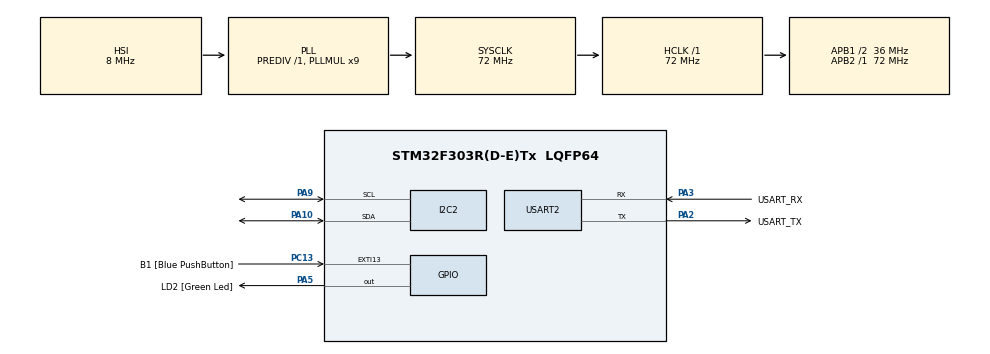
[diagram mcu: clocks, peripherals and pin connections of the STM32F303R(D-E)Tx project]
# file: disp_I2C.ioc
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I2C2.Timing=0x00201D2B
Mcu.Family=STM32F3
Mcu.Name=STM32F303R(D-E)Tx
Mcu.Package=LQFP64
NVIC.PriorityGroup=NVIC_PRIORITYGROUP_0
PA10.Mode=I2C
PA10.Signal=I2C2_SDA
PA13.GPIO_Label=TMS
PA13.Mode=Serial_Wire
PA13.Signal=SYS_JTMS-SWDIO
PA14.GPIO_Label=TCK
PA14.Mode=Serial_Wire
PA14.Signal=SYS_JTCK-SWCLK
PA2.GPIO_Label=USART_TX
PA2.GPIO_Mode=GPIO_MODE_AF_PP
PA2.GPIO_PuPd=GPIO_NOPULL
PA2.GPIO_Speed=GPIO_SPEED_FREQ_LOW
PA2.Mode=Asynchronous
PA2.Signal=USART2_TX
PA3.GPIO_Label=USART_RX
PA3.GPIO_Mode=GPIO_MODE_AF_PP
PA3.GPIO_PuPd=GPIO_NOPULL
PA3.GPIO_Speed=GPIO_SPEED_FREQ_LOW
PA3.Mode=Asynchronous
PA3.Signal=USART2_RX
PA5.GPIO_Label=LD2 [Green Led]
PA5.GPIO_Mode=GPIO_MODE_OUTPUT_PP
PA5.GPIO_PuPd=GPIO_NOPULL
PA5.GPIO_Speed=GPIO_SPEED_FREQ_LOW
PA5.Signal=GPIO_Output
PA9.Mode=I2C
PA9.Signal=I2C2_SCL
PB3.GPIO_Label=SWO
PB3.Signal=SYS_JTDO-TRACESWO
PC13.GPIO_Label=B1 [Blue PushButton]
PC13.GPIO_ModeDefaultEXTI=GPIO_MODE_IT_FALLING
PC13.Signal=GPXTI13
PC14-OSC32_IN.Mode=LSE-External-Oscillator
PC14-OSC32_IN.Signal=RCC_OSC32_IN
PC15-OSC32_OUT.Mode=LSE-External-Oscillator
PC15-OSC32_OUT.Signal=RCC_OSC32_OUT
PF0-OSC_IN.Mode=HSE-External-Clock-Source
PF0-OSC_IN.Signal=RCC_OSC_IN
PF1-OSC_OUT.Signal=RCC_OSC_OUT
ProjectManager.HeapSize=0x200
ProjectManager.StackSize=0x400
ProjectManager.TargetToolchain=STM32CubeIDE
RCC.AHBFreq_Value=72000000
RCC.APB1CLKDivider=RCC_HCLK_DIV2
RCC.APB1Freq_Value=36000000
RCC.APB1TimFreq_Value=72000000
RCC.APB2Freq_Value=72000000
RCC.APB2TimFreq_Value=72000000
RCC.CortexFreq_Value=72000000
RCC.HCLKFreq_Value=72000000
RCC.HSE_VALUE=8000000
RCC.HSI_VALUE=8000000
RCC.PLLM=8
RCC.PLLMUL=RCC_PLL_MUL9
RCC.PLLN=336
RCC.PLLP=RCC_PLLP_DIV4
RCC.PLLQ=7
RCC.RCC_PLLsource_Clock_Source_FROM_HSE=RCC_HSE_PREDIV_DIV2
RCC.SYSCLKFreq_VALUE=72000000
RCC.SYSCLKSourceVirtual=RCC_SYSCLKSOURCE_PLLCLK
RCC.USBFreq_Value=72000000
USART2.VirtualMode-Asynchronous=VM_ASYNC
board=NUCLEO-F303RE

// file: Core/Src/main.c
/* USER CODE BEGIN Header */
/**
  ******************************************************************************
  * @file           : main.c
  * @brief          : Main program body
  ******************************************************************************
  * @attention
  *
  * Copyright (c) 2025 STMicroelectronics.
  * All rights reserved.
  *
  * This software is licensed under terms that can be found in the LICENSE file
  * in the root directory of this software component.
  * If no LICENSE file comes with this software, it is provided AS-IS.
  *
  ******************************************************************************
  */
/* USER CODE END Header */
#include "main.h"

/* USER CODE BEGIN Includes */
#include <string.h>
#include <stdio.h>
/* USER CODE END Includes */

/* USER CODE BEGIN PD */
#define SLAVE_ADDRESS_LCD 	0x4E // change this according to your setup 4F

// LCD command definitions:

// commands
#define LCD_CLEARDISPLAY			0x01
#define LCD_RETURNHOME				0x02
#define LCD_ENTRYMODESET			0x04
#define LCD_DISPLAYCONTROL			0x08
#define LCD_CURSORSHIFT				0x10

// flags for display entry mode
#define LCD_ENTRYRIGHT				0x00
#define LCD_ENTRYLEFT				0x02
#define LCD_ENTRYSHIFTINCREMENT 	0x01
#define LCD_ENTRYSHIFTDECREMENT 	0x00

// flags for display on/off control
#define LCD_DISPLAYON				0x04
#define LCD_DISPLAYOFF				0x00
#define LCD_CURSORON				0x02
#define LCD_CURSOROFF				0x00
#define LCD_BLINKON					0x01
#define LCD_BLINKOFF				0x00

// flags for display/cursor shift
#define LCD_DISPLAYMOVE				0x08
#define LCD_CURSORMOVE				0x00
#define LCD_MOVERIGHT				0x04
#define LCD_MOVELEFT				0x00

// flags for function set
#define LCD_8BITMODE				0x10
#define LCD_4BITMODE				0x00
#define LCD_2LINE					0x08
#define LCD_1LINE					0x00
#define LCD_5x10DOTS				0x04
#define LCD_5x8DOTS					0x00

#define NUMROWS						2
#define NUMCOLS						16
/* USER CODE END PD */

I2C_HandleTypeDef hi2c2;

UART_HandleTypeDef huart2;

void SystemClock_Config(void);
static void MX_GPIO_Init(void);
static void MX_USART2_UART_Init(void);
static void MX_I2C2_Init(void);
/* USER CODE BEGIN PFP */
void lcd_send_cmd (char cmd);
void lcd_send_data (char data);
void lcd_init (void);
void lcd_send_string (char *str);
void lcd_put_cur(int row, int col);
/* USER CODE END PFP */

int main(void)
{

  /* MCU Configuration--------------------------------------------------------*/

  /* Reset of all peripherals, Initializes the Flash interface and the Systick. */
  HAL_Init();

  /* Configure the system clock */
  SystemClock_Config();

  /* Initialize all configured peripherals */
  MX_GPIO_Init();
  MX_USART2_UART_Init();
  MX_I2C2_Init();
  /* USER CODE BEGIN 2 */
  lcd_init();
  lcd_put_cur(0, 0);
  lcd_send_string("FAST GmbH");
  HAL_Delay(2000);
  lcd_put_cur(1, 0);
  lcd_send_string("Aqua M60 Testing");
  /* USER CODE END 2 */

  /* Infinite loop */
  while (1)
  {

    /* USER CODE BEGIN 3 */

	  HAL_GPIO_TogglePin(LD2_GPIO_Port, LD2_Pin);
	  HAL_Delay(500);

  }
  /* USER CODE END 3 */
}

void SystemClock_Config(void)
{
  RCC_OscInitTypeDef RCC_OscInitStruct = {0};
  RCC_ClkInitTypeDef RCC_ClkInitStruct = {0};
  RCC_PeriphCLKInitTypeDef PeriphClkInit = {0};

  /** Initializes the RCC Oscillators according to the specified parameters
  * in the RCC_OscInitTypeDef structure.
  */
  RCC_OscInitStruct.OscillatorType = RCC_OSCILLATORTYPE_HSI;
  RCC_OscInitStruct.HSIState = RCC_HSI_ON;
  RCC_OscInitStruct.HSICalibrationValue = RCC_HSICALIBRATION_DEFAULT;
  RCC_OscInitStruct.PLL.PLLState = RCC_PLL_ON;
  RCC_OscInitStruct.PLL.PLLSource = RCC_PLLSOURCE_HSI;
  RCC_OscInitStruct.PLL.PLLMUL = RCC_PLL_MUL9;
  RCC_OscInitStruct.PLL.PREDIV = RCC_PREDIV_DIV1;
  if (HAL_RCC_OscConfig(&RCC_OscInitStruct) != HAL_OK)
  {
    Error_Handler();
  }

  /** Initializes the CPU, AHB and APB buses clocks
  */
  RCC_ClkInitStruct.ClockType = RCC_CLOCKTYPE_HCLK|RCC_CLOCKTYPE_SYSCLK
                              |RCC_CLOCKTYPE_PCLK1|RCC_CLOCKTYPE_PCLK2;
  RCC_ClkInitStruct.SYSCLKSource = RCC_SYSCLKSOURCE_PLLCLK;
  RCC_ClkInitStruct.AHBCLKDivider = RCC_SYSCLK_DIV1;
  RCC_ClkInitStruct.APB1CLKDivider = RCC_HCLK_DIV2;
  RCC_ClkInitStruct.APB2CLKDivider = RCC_HCLK_DIV1;

  if (HAL_RCC_ClockConfig(&RCC_ClkInitStruct, FLASH_LATENCY_2) != HAL_OK)
  {
    Error_Handler();
  }
  PeriphClkInit.PeriphClockSelection = RCC_PERIPHCLK_USART2|RCC_PERIPHCLK_I2C2;
  PeriphClkInit.Usart2ClockSelection = RCC_USART2CLKSOURCE_PCLK1;
  PeriphClkInit.I2c2ClockSelection = RCC_I2C2CLKSOURCE_HSI;
  if (HAL_RCCEx_PeriphCLKConfig(&PeriphClkInit) != HAL_OK)
  {
    Error_Handler();
  }
}

static void MX_I2C2_Init(void)
{

  hi2c2.Instance = I2C2;
  hi2c2.Init.Timing = 0x00201D2B;
  hi2c2.Init.OwnAddress1 = 0;
  hi2c2.Init.AddressingMode = I2C_ADDRESSINGMODE_7BIT;
  hi2c2.Init.DualAddressMode = I2C_DUALADDRESS_DISABLE;
  hi2c2.Init.OwnAddress2 = 0;
  hi2c2.Init.OwnAddress2Masks = I2C_OA2_NOMASK;
  hi2c2.Init.GeneralCallMode = I2C_GENERALCALL_DISABLE;
  hi2c2.Init.NoStretchMode = I2C_NOSTRETCH_DISABLE;
  if (HAL_I2C_Init(&hi2c2) != HAL_OK)
  {
    Error_Handler();
  }

  /** Configure Analogue filter
  */
  if (HAL_I2CEx_ConfigAnalogFilter(&hi2c2, I2C_ANALOGFILTER_ENABLE) != HAL_OK)
  {
    Error_Handler();
  }

  /** Configure Digital filter
  */
  if (HAL_I2CEx_ConfigDigitalFilter(&hi2c2, 0) != HAL_OK)
  {
    Error_Handler();
  }

}

static void MX_USART2_UART_Init(void)
{

  huart2.Instance = USART2;
  huart2.Init.BaudRate = 38400;
  huart2.Init.WordLength = UART_WORDLENGTH_8B;
  huart2.Init.StopBits = UART_STOPBITS_1;
  huart2.Init.Parity = UART_PARITY_NONE;
  huart2.Init.Mode = UART_MODE_TX_RX;
  huart2.Init.HwFlowCtl = UART_HWCONTROL_NONE;
  huart2.Init.OverSampling = UART_OVERSAMPLING_16;
  huart2.Init.OneBitSampling = UART_ONE_BIT_SAMPLE_DISABLE;
  huart2.AdvancedInit.AdvFeatureInit = UART_ADVFEATURE_NO_INIT;
  if (HAL_UART_Init(&huart2) != HAL_OK)
  {
    Error_Handler();
  }

}

static void MX_GPIO_Init(void)
{
  GPIO_InitTypeDef GPIO_InitStruct = {0};

  /* GPIO Ports Clock Enable */
  __HAL_RCC_GPIOC_CLK_ENABLE();
  __HAL_RCC_GPIOF_CLK_ENABLE();
  __HAL_RCC_GPIOA_CLK_ENABLE();
  __HAL_RCC_GPIOB_CLK_ENABLE();

  /*Configure GPIO pin Output Level */
  HAL_GPIO_WritePin(LD2_GPIO_Port, LD2_Pin, GPIO_PIN_RESET);

  /*Configure GPIO pin : B1_Pin */
  GPIO_InitStruct.Pin = B1_Pin;
  GPIO_InitStruct.Mode = GPIO_MODE_IT_FALLING;
  GPIO_InitStruct.Pull = GPIO_NOPULL;
  HAL_GPIO_Init(B1_GPIO_Port, &GPIO_InitStruct);

  /*Configure GPIO pin : LD2_Pin */
  GPIO_InitStruct.Pin = LD2_Pin;
  GPIO_InitStruct.Mode = GPIO_MODE_OUTPUT_PP;
  GPIO_InitStruct.Pull = GPIO_NOPULL;
  GPIO_InitStruct.Speed = GPIO_SPEED_FREQ_LOW;
  HAL_GPIO_Init(LD2_GPIO_Port, &GPIO_InitStruct);

}

/* USER CODE BEGIN 4 */
void lcd_send_cmd (char cmd)
{
  char data_u, data_l;
  uint8_t data_t[6];

  data_u = ((cmd>>4)&0x0f);
  data_l = (cmd&0x0f);

  data_t[0] = data_u|0x08;  //en=0, rs=0 -> bxxxx1000
  data_t[1] = data_u|0x0C;  //en=1, rs=0 -> bxxxx1100
  data_t[2] = data_u|0x08;  //en=0, rs=0 -> bxxxx1000

  data_t[3] = data_l|0x08;  //en=0, rs=0 -> bxxxx1000
  data_t[4] = data_l|0x0C;  //en=1, rs=0 -> bxxxx1100
  data_t[5] = data_l|0x08;  //en=0, rs=0 -> bxxxx1000
//  HAL_I2C_Master_Transmit (&hi2c2, SLAVE_ADDRESS_LCD,(uint8_t *) data_t, 6, HAL_MAX_DELAY);

  HAL_I2C_Master_Transmit (&hi2c2, SLAVE_ADDRESS_LCD,&data_t[0], 1, HAL_MAX_DELAY);
  HAL_I2C_Master_Transmit (&hi2c2, SLAVE_ADDRESS_LCD,&data_t[1], 1, HAL_MAX_DELAY);
  HAL_I2C_Master_Transmit (&hi2c2, SLAVE_ADDRESS_LCD,&data_t[2], 1, HAL_MAX_DELAY);
  HAL_I2C_Master_Transmit (&hi2c2, SLAVE_ADDRESS_LCD,&data_t[3], 1, HAL_MAX_DELAY);
  HAL_I2C_Master_Transmit (&hi2c2, SLAVE_ADDRESS_LCD,&data_t[4], 1, HAL_MAX_DELAY);
  HAL_I2C_Master_Transmit (&hi2c2, SLAVE_ADDRESS_LCD,&data_t[5], 1, HAL_MAX_DELAY);
}

void lcd_send_data (char data)
{
	char data_u, data_l;
	uint8_t data_t[4];

	data_u = ((data>>4)&0x0f);
	data_l = (data&0x0f);

	data_t[0] = data_u|0x09;  //en=0, rs=1 -> bxxxx1001
	data_t[1] = data_u|0x0D;  //en=1, rs=1 -> bxxxx1101
	data_t[2] = data_u|0x09;  //en=0, rs=1 -> bxxxx1001

	data_t[3] = data_l|0x09;  //en=0, rs=1 -> bxxxx1001
	data_t[4] = data_l|0x0D;  //en=1, rs=1 -> bxxxx1101
	data_t[5] = data_l|0x09;  //en=0, rs=1 -> bxxxx1001
//	HAL_I2C_Master_Transmit (&hi2c2, SLAVE_ADDRESS_LCD,(uint8_t *) data_t, 6, HAL_MAX_DELAY);

	  HAL_I2C_Master_Transmit (&hi2c2, SLAVE_ADDRESS_LCD,&data_t[0], 1, HAL_MAX_DELAY);
	  HAL_I2C_Master_Transmit (&hi2c2, SLAVE_ADDRESS_LCD,&data_t[1], 1, HAL_MAX_DELAY);
	  HAL_I2C_Master_Transmit (&hi2c2, SLAVE_ADDRESS_LCD,&data_t[2], 1, HAL_MAX_DELAY);
	  HAL_I2C_Master_Transmit (&hi2c2, SLAVE_ADDRESS_LCD,&data_t[3], 1, HAL_MAX_DELAY);
	  HAL_I2C_Master_Transmit (&hi2c2, SLAVE_ADDRESS_LCD,&data_t[4], 1, HAL_MAX_DELAY);
	  HAL_I2C_Master_Transmit (&hi2c2, SLAVE_ADDRESS_LCD,&data_t[5], 1, HAL_MAX_DELAY);

}

void lcd_init (void)
{
	    // 4 bit initialisation
		lcd_send_cmd (0x01);
	    HAL_Delay(500);
	    lcd_send_cmd (0x02);		// 4bit mode
	    HAL_Delay(10);
	    lcd_send_cmd (0x28);		// Function set --> DL=0 (4 bit mode), N = 1 (2 line display) F = 0 (5x8 characters)
	    HAL_Delay(10);
	    lcd_send_cmd (0x01);		// clear display
	    HAL_Delay(10);
	    lcd_send_cmd (0x0E);
	    HAL_Delay(10);
	    lcd_send_cmd (0x06);		//Entry mode set --> I/D = 1 (increment cursor) & S = 0 (no shift)

}

void lcd_send_string (char *str)
{
  while (*str) lcd_send_data (*str++);
}

void lcd_put_cur(int row, int col)
{
    switch (row)
    {
        case 0:
            col |= 0x80;
            break;
        case 1:
            col |= 0xC0;
            break;
    }
    lcd_send_cmd (col);
    lcd_send_cmd (row);
}
/* USER CODE END 4 */

void Error_Handler(void)
{
  __disable_irq();
  while (1)
  {
  }
}
